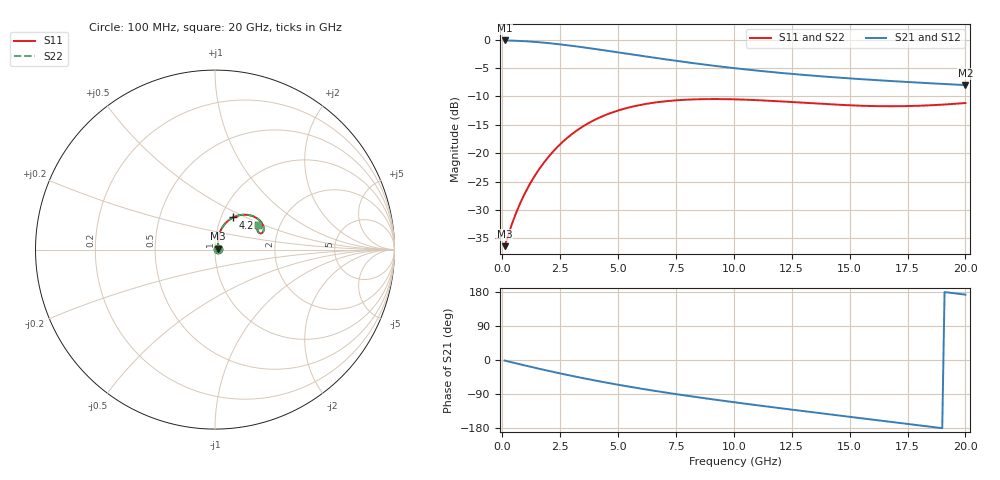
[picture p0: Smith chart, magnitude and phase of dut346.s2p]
! Touchstone file exported from HFSS 2024.1.0
!  File:  C:/UserFiles/LocalFiles/RDL_TSV_Batchsim/temp_RDL_TSV_346_1779636754.aedt
!  Generated:  11:52:28 PM May 24, 2026
!  Design:  RDL_TSV
!  Project:  temp_RDL_TSV_346_1779636754
!  Setup:  Setup1
!  Solution:  Sweep
! Variables:
!  dtsv = 5.24um
!  hbump = 3um
!  htsv = 86.63um
!  ldown = 640.57um
!  lrdl = 167.25um
!  p = 40
!  p1 = 45.26um
!  rhole = 10um
!  subl = 2590.71um
!  t = 450um
!  tdown = 4.8um
!  trdl = 3.08um
!  viad = 10um
!  wdown = 21.1um
!  wrdl = 14.98um
!  xbump = 18um
# GHz S MA R 50.000000
! Terminal data exported
! Port[1] = TM1_1_T1
! Port[2] = TM1_4_T1
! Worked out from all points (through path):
!   200 points, 100 MHz to 20 GHz, reference 50 ohm
!   highest |S21| = -0.13 dB at 100 MHz (marker M1); lowest = -8.0 dB at 20 GHz (marker M2)
!   group delay of S21, straight-line fit = 24.7 ps
!   lowest |S11| = -36.4 dB at 100 MHz (marker M3), VSWR 1.03, Z = 51.5 + j0.485 ohm
!   |S11| at or under -10 dB: start of sweep to end of sweep
!   |S22| runs from -36.4 to -10.4 dB; largest |S21 - S12| = 5.5e-14
!   S11 on the Smith chart (normalised r, x): 100 MHz: 1.03, +0.01; 4.2 GHz: 1.14, +0.43; 20 GHz: 1.55, +0.46
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0.1  0.01514 18.1  0.9855 -1.5  0.9855 -1.5  0.01514 18.1
! Gamma 0 0 0 0
! Port Impedance 50 0 50 0
0.4  0.02322 47.4  0.9821 -6.0  0.9821 -6.0  0.02322 47.4
0.7  0.03343 60.9  0.977 -10.4  0.977 -10.4  0.03342 60.9
1.1  0.04948 69.7  0.9671 -16.1  0.9671 -16.1  0.04949 69.7
1.5  0.06779 73.4  0.954 -21.8  0.954 -21.8  0.06781 73.5
1.9  0.08785 74.4  0.938 -27.4  0.938 -27.4  0.08789 74.4
2.4  0.1145 73.2  0.915 -34.1  0.915 -34.1  0.1145 73.3
2.9  0.1415 70.5  0.8895 -40.6  0.8895 -40.6  0.1416 70.6
3.5  0.1729 66.2  0.8571 -48.1  0.8571 -48.1  0.173 66.3
4.2  0.206 60.5  0.8182 -56.4  0.8182 -56.4  0.2062 60.6
4.8  0.2304 55.5  0.785 -63.1  0.785 -63.1  0.2307 55.6
5.4  0.2508 50.7  0.7527 -69.5  0.7527 -69.5  0.2512 50.8
6.8  0.2831 40.7  0.6831 -83.5  0.6831 -83.5  0.2836 40.7
7.6  0.2932 35.8  0.6479 -90.9  0.6479 -90.9  0.2938 35.9
8.4  0.2985 31.6  0.616 -98.0  0.616 -98.0  0.2991 31.7
10.1  0.298 24.8  0.5593 -112.2  0.5593 -112.2  0.2987 24.8
11.7  0.2885 20.9  0.5174 -124.8  0.5174 -124.8  0.2893 20.9
13.4  0.2751 19.4  0.4825 -137.8  0.4825 -137.8  0.2759 19.4
15  0.2643 20.3  0.4563 -149.9  0.4563 -149.9  0.2651 20.3
16.7  0.2592 23.1  0.4335 -162.7  0.4335 -162.7  0.2599 23.0
18.3  0.2632 26.5  0.4152 -174.7  0.4152 -174.7  0.2638 26.4
20  0.2768 29.5  0.3981 172.5  0.3981 172.5  0.2772 29.5
